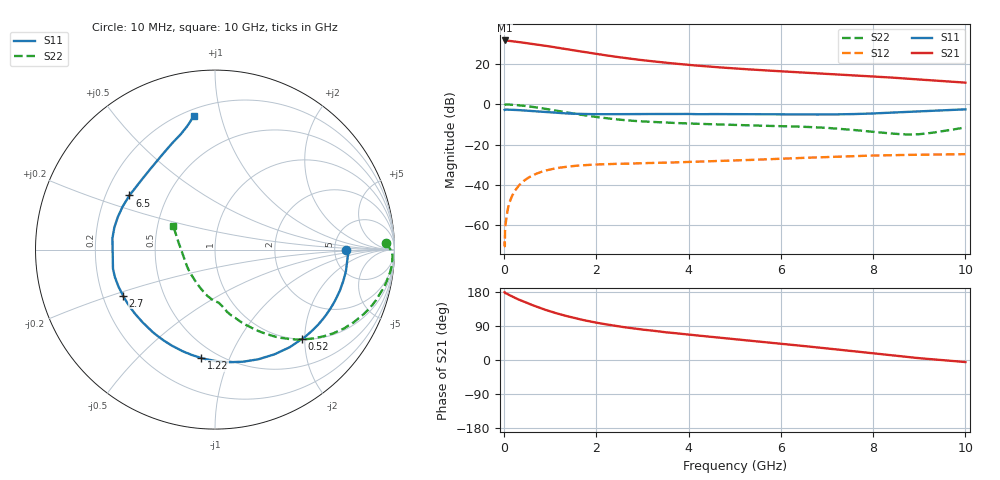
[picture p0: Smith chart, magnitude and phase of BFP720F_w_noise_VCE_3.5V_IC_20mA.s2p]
! Infineon Technologies  Discrete & RF Semiconductors
! BFP720F
! VCE =  3.5 V,  IC =  20 mA
! Common Emitter S-Parameters:  Jan 2016
# GHz  S  MA  R  50
!  f  S11  S21  S12  S22
! GHz  MAG  ANG  MAG  ANG  MAG  ANG  MAG  ANG
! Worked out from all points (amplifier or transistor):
!   233 points, 10 MHz to 10 GHz, reference 50 ohm
!   highest |S21| = 31.8 dB at 10 MHz (marker M1)
!   |S21| within 3 dB of that: start of sweep to 997.9 MHz
!   unconditionally stable (mu >= 1): start of sweep to 16.24 MHz; 5.563 GHz to end of sweep
!   at 200 MHz: K = 0.11, MSG = 37.7 dB, |S12| = -44.2 dB
!   at 1.74 GHz: K = 0.44, MSG = 28.1 dB, |S12| = -30.2 dB
!   at 10 GHz: K = 1.19, MAG = 15.2 dB, |S12| = -24.7 dB
!   lowest NFmin = 0.86 dB at 450 MHz
!   S11 on the Smith chart (normalised r, x): 10 MHz: 6.46, -0.04; 520 MHz: 1.01, -1.94; 1.22 GHz: 0.41, -0.79; 2.7 GHz: 0.29, -0.22; 6.5 GHz: 0.30, +0.27; 10 GHz: 0.24, +0.82
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0.01  0.7318 -0.1  38.77 178.7  0.0004 -42.0  0.9545 2.3
0.02  0.7425 -1.4  38.48 176.4  0.0008 85.3  0.9862 -0.8
0.05  0.7396 -4.5  38.44 175.6  0.0015 85.5  0.9896 -2.0
0.1  0.7399 -9.0  38.03 172.2  0.0032 83.6  0.9896 -4.8
0.24  0.7284 -21.6  36.25 163.5  0.0073 78.8  0.9677 -11.8
0.38  0.7131 -34.0  34.56 156.1  0.0113 72.8  0.9349 -18.4
0.52  0.6948 -45.8  32.95 149.3  0.0149 67.3  0.8964 -24.3
0.6  0.6849 -52.6  32.13 145.4  0.0168 64.3  0.8724 -27.7
0.8  0.6571 -68.4  29.79 136.4  0.0209 57.5  0.8088 -35.1
1  0.6325 -82.8  27.43 128.3  0.0242 51.4  0.7418 -41.8
1.22  0.6086 -97.2  24.96 120.3  0.0269 45.9  0.6726 -48.1
1.48  0.5887 -112.1  22.31 112.0  0.0292 40.7  0.599 -54.5
1.68  0.5791 -121.9  20.5 106.4  0.0306 37.4  0.55 -58.7
2.2  0.5714 -141.3  16.6 94.2  0.0327 31.5  0.4553 -67.5
2.7  0.5728 -153.4  13.83 85.1  0.0338 28.5  0.3985 -73.2
3.4  0.5775 -163.5  11.17 74.8  0.0355 26.7  0.3576 -78.5
4  0.5783 -169.4  9.57 66.9  0.037 26.1  0.3347 -80.8
5.1  0.5731 166.4  7.675 53.9  0.0407 25.7  0.306 -84.4
6.5  0.5643 147.7  6.182 36.8  0.0469 23.6  0.278 -93.6
6.8  0.5618 142.8  5.91 33.1  0.0483 22.8  0.2675 -97.1
8.4  0.624 114.8  4.64 12.3  0.0548 16.7  0.1887 -138.4
10  0.7537 99.1  3.472 -5.4  0.058 11.1  0.2672 150.4
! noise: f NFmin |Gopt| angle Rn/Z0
0.45  0.86  0.16  0  0.43
0.9  0.89  0.09  -6  0.15
1.8  0.92  0.07  -52  0.15
2.4  0.94  0.08  -58  0.15
5.5  1.06  0.08  -60  0.14
10  1.24  0.38  -81  0.26
